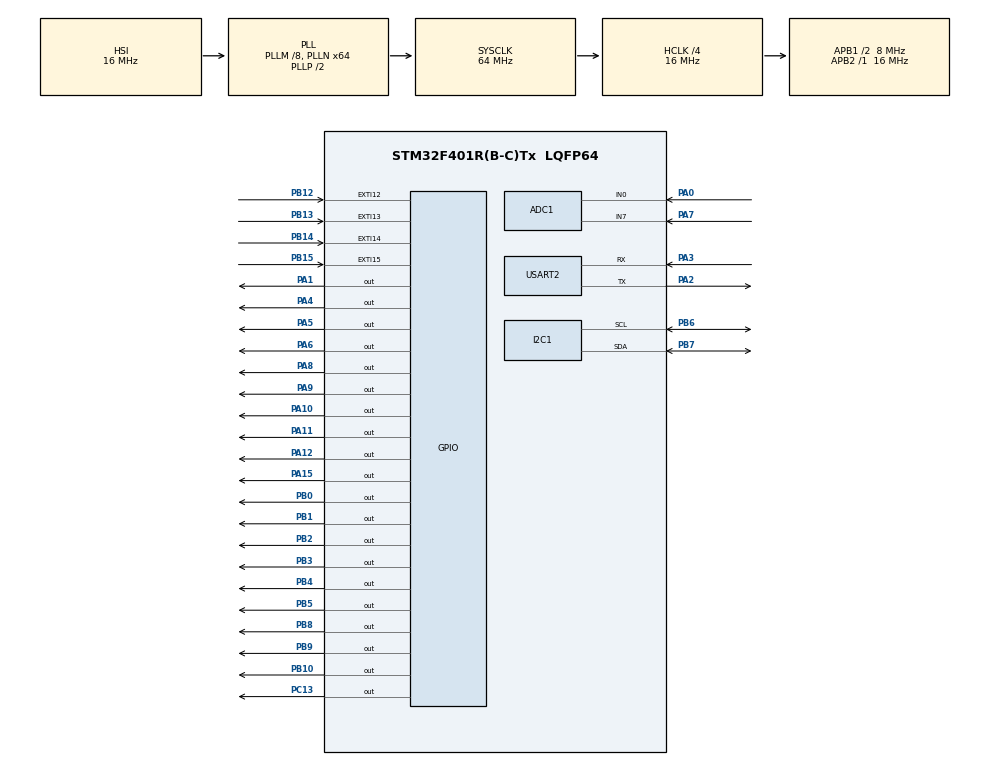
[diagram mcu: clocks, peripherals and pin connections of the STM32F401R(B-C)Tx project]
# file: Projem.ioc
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ADC1.ClockPrescaler=ADC_CLOCK_SYNC_PCLK_DIV2
ADC1.ContinuousConvMode=ENABLE
ADC1.NbrOfConversionFlag=1
ADC1.SamplingTime-0\#ChannelRegularConversion=ADC_SAMPLETIME_56CYCLES
ADC1.master=1
Mcu.Family=STM32F4
Mcu.Name=STM32F401R(B-C)Tx
Mcu.Package=LQFP64
NVIC.ADC_IRQn=true\:0\:0\:false\:false\:true\:true\:true\:true
NVIC.EXTI15_10_IRQn=true\:0\:0\:false\:false\:true\:true\:true\:true
NVIC.PriorityGroup=NVIC_PRIORITYGROUP_4
NVIC.TIM2_IRQn=true\:15\:0\:false\:false\:true\:true\:true\:true
PA0-WKUP.Signal=ADCx_IN0
PA1.Signal=GPIO_Output
PA10.Signal=GPIO_Output
PA11.Signal=GPIO_Output
PA12.Signal=GPIO_Output
PA13.Mode=Serial_Wire
PA13.Signal=SYS_JTMS-SWDIO
PA14.Mode=Serial_Wire
PA14.Signal=SYS_JTCK-SWCLK
PA15.GPIO_PuPd=GPIO_NOPULL
PA15.Signal=GPIO_Output
PA2.Mode=Asynchronous
PA2.Signal=USART2_TX
PA3.Mode=Asynchronous
PA3.Signal=USART2_RX
PA4.GPIO_PuPd=GPIO_NOPULL
PA4.Signal=GPIO_Output
PA5.GPIO_PuPd=GPIO_NOPULL
PA5.Signal=GPIO_Output
PA6.GPIO_PuPd=GPIO_NOPULL
PA6.Signal=GPIO_Output
PA7.Signal=ADCx_IN7
PA8.Signal=GPIO_Output
PA9.Signal=GPIO_Output
PB0.Signal=GPIO_Output
PB1.Signal=GPIO_Output
PB10.Signal=GPIO_Output
PB12.GPIO_ModeDefaultEXTI=GPIO_MODE_IT_FALLING
PB12.GPIO_PuPd=GPIO_PULLUP
PB12.Signal=GPXTI12
PB13.GPIO_ModeDefaultEXTI=GPIO_MODE_IT_FALLING
PB13.GPIO_PuPd=GPIO_PULLUP
PB13.Signal=GPXTI13
PB14.GPIO_ModeDefaultEXTI=GPIO_MODE_IT_FALLING
PB14.GPIO_PuPd=GPIO_PULLUP
PB14.Signal=GPXTI14
PB15.GPIO_ModeDefaultEXTI=GPIO_MODE_IT_FALLING
PB15.GPIO_PuPd=GPIO_PULLUP
PB15.Signal=GPXTI15
PB2.Signal=GPIO_Output
PB3.Signal=GPIO_Output
PB4.Signal=GPIO_Output
PB5.Signal=GPIO_Output
PB6.GPIO_Pu=GPIO_PULLUP
PB6.Mode=I2C
PB6.Signal=I2C1_SCL
PB7.GPIO_Mode=GPIO_MODE_AF_OD
PB7.GPIO_Pu=GPIO_PULLUP
PB7.Mode=I2C
PB7.Signal=I2C1_SDA
PB8.Signal=GPIO_Output
PB9.Signal=GPIO_Output
PC13-ANTI_TAMP.GPIO_PuPd=GPIO_PULLUP
PC13-ANTI_TAMP.Signal=GPIO_Output
PC14-OSC32_IN.Mode=LSE-External-Oscillator
PC14-OSC32_IN.Signal=RCC_OSC32_IN
PC15-OSC32_OUT.Mode=LSE-External-Oscillator
PC15-OSC32_OUT.Signal=RCC_OSC32_OUT
PH0\ -\ OSC_IN.Mode=HSE-External-Oscillator
PH0\ -\ OSC_IN.Signal=RCC_OSC_IN
PH1\ -\ OSC_OUT.Mode=HSE-External-Oscillator
PH1\ -\ OSC_OUT.Signal=RCC_OSC_OUT
ProjectManager.HeapSize=0x200
ProjectManager.StackSize=0x400
ProjectManager.TargetToolchain=STM32CubeIDE
RCC.48MHZClocksFreq_Value=32000000
RCC.AHBCLKDivider=RCC_SYSCLK_DIV4
RCC.AHBFreq_Value=16000000
RCC.APB1CLKDivider=RCC_HCLK_DIV2
RCC.APB1Freq_Value=8000000
RCC.APB1TimFreq_Value=16000000
RCC.APB2Freq_Value=16000000
RCC.APB2TimFreq_Value=16000000
RCC.CortexFreq_Value=16000000
RCC.HCLKFreq_Value=16000000
RCC.HSE_VALUE=25000000
RCC.HSI_VALUE=16000000
RCC.PLLM=8
RCC.PLLN=64
RCC.SYSCLKFreq_VALUE=64000000
RCC.SYSCLKSource=RCC_SYSCLKSOURCE_PLLCLK
RCC.VCOOutputFreq_Value=128000000
SH.ADCx_IN0.0=ADC1_IN0,IN0
SH.ADCx_IN7.0=ADC1_IN7,IN7
TIM2.Period=999
TIM2.Prescaler=15
USART2.VirtualMode=VM_ASYNC
VP_RTC_VS_RTC_Activate.Mode=RTC_Enabled
VP_TIM2_VS_ClockSourceINT.Mode=Internal
board=custom

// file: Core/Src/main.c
/* USER CODE BEGIN Header */
/**
  ******************************************************************************
  * @file           : main.c
  * @brief          : Main program body
  ******************************************************************************
  */
/* USER CODE END Header */

#include "main.h"
#include "lcd.h"
#include "ds1307.h"
#include <stdio.h>
#include <string.h>
#include <math.h>

ADC_HandleTypeDef hadc1;
I2C_HandleTypeDef hi2c1;
RTC_HandleTypeDef hrtc;
TIM_HandleTypeDef htim2;
UART_HandleTypeDef huart2;

/* USER CODE BEGIN PV */
uint8_t sn=0, dak=25, saat=10, gun=15, haftagun=4, ay=5, yil=26;

/* 7 SEGMENT ORTAK ANOT TABLOSU */
const unsigned char segtable[]={0xC0,0xF9,0xA4,0xB0,0x99,
		                        0x92,0x82,0xF8,0x80,0x90,0x9C,0xC6};

uint16_t s4=0, s3=0, s2=0, s1=0;
uint16_t tiksay=0, tiksay1=0, tiksay2=0;

/* NAVİGASYON VE DURUM BAYRAKLARI */
volatile int menu_index = 0;
volatile uint8_t enter_pressed = 0;
volatile uint8_t back_pressed = 0;
uint8_t current_app = 0;

uint32_t seg_timer = 0;
uint8_t display_mode = 0;
uint32_t app_timer = 0;
uint8_t buzzer_state = 0;
uint8_t led_toggle_state = 0;

float temperature = 25.0f;
float pot_voltage = 0.0f;

const char *menu_items[5] = {
    "1.Buzzer Uyg.",
    "2.LED Uyg.",
    "3.RTC Tarih",
    "4.POT Voltaj",
    "5.UART Haber"
};
/* USER CODE END PV */

void SystemClock_Config(void);
void MX_GPIO_Init(void);
void MX_ADC1_Init(void);
void MX_I2C1_Init(void);
void MX_TIM2_Init(void);
void MX_RTC_Init(void);
void MX_USART2_UART_Init(void);

void Update_Menu_Display(void);
void Execute_Applications(void);
void Read_Sensors(void);

void delay_us(uint16_t delay) {
    volatile uint16_t i;
    while(delay--) { for(i = 0; i < 10; i++); }
}

void Error_Handler(void)
{
  __disable_irq();
  while (1) {}
}

/* KİLİTLENMEYİ ÖNLEYEN VE PARAZİT ENGELLEYİCİ AKILLI BUTON MOTORU */
void HAL_GPIO_EXTI_Callback(uint16_t GPIO_Pin)
{
    static uint32_t last_exti_tick = 0;
    if(HAL_GetTick() - last_exti_tick < 250) return;
    last_exti_tick = HAL_GetTick();

    if(GPIO_Pin == GPIO_PIN_12){
        if(HAL_GPIO_ReadPin(GPIOB, GPIO_PIN_12) == GPIO_PIN_RESET) {
            if(current_app == 0) {
                menu_index = (menu_index - 1 + 5) % 5;
                Update_Menu_Display();
            }
        }
    }
    if(GPIO_Pin == GPIO_PIN_13){
        if(HAL_GPIO_ReadPin(GPIOB, GPIO_PIN_13) == GPIO_PIN_RESET) {
            if(current_app == 0) {
                menu_index = (menu_index + 1) % 5;
                Update_Menu_Display();
            }
        }
    }
    if(GPIO_Pin == GPIO_PIN_14){
        if(HAL_GPIO_ReadPin(GPIOB, GPIO_PIN_14) == GPIO_PIN_RESET) {
            if(current_app == 0) enter_pressed = 1;
        }
    }
    if(GPIO_Pin == GPIO_PIN_15){
        if(HAL_GPIO_ReadPin(GPIOB, GPIO_PIN_15) == GPIO_PIN_RESET) {
            if(current_app != 0) back_pressed = 1;
        }
    }
}

void Update_Menu_Display(void)
{
    clearLcd();
    uint8_t start = (menu_index / 2) * 2;

    char line1[21];
    char line2[21];

    sprintf(line1, "%c%s", (menu_index == start) ? '*' : ' ', menu_items[start]);
    writeStr(0, 0, line1);

    if(start + 1 < 5)
    {
        sprintf(line2, "%c%s", (menu_index == start + 1) ? '*' : ' ', menu_items[start + 1]);
        writeStr(1, 0, line2);
    }
}

void Execute_Applications(void)
{
    if(back_pressed == 1) {
        back_pressed = 0;
        enter_pressed = 0;
        current_app = 0;
        HAL_GPIO_WritePin(GPIOC, GPIO_PIN_13, GPIO_PIN_RESET);
        clearLcd();
        HAL_Delay(100);
        Update_Menu_Display();
        return;
    }

    if(enter_pressed) {
        current_app = menu_index + 1;
        enter_pressed = 0;
        clearLcd();
        app_timer = HAL_GetTick();
        buzzer_state = 0;
        led_toggle_state = 0;
    }

    if(current_app == 0) return;

    switch(current_app) {
        case 1: /* BUZZER UYGULAMASI */
            writeStr(0, 0, "Buzzer Uygulama ");
            if(buzzer_state == 0) {
                writeStr(1, 0, "Durum: AKTIF (3s)");
                HAL_GPIO_WritePin(GPIOC, GPIO_PIN_13, GPIO_PIN_SET);
                if(HAL_GetTick() - app_timer >= 3000) {
                    buzzer_state = 1;
                    app_timer = HAL_GetTick();
                }
            } else {
                writeStr(1, 0, "Durum: PASIF (1s)");
                HAL_GPIO_WritePin(GPIOC, GPIO_PIN_13, GPIO_PIN_RESET);
                if(HAL_GetTick() - app_timer >= 1000) {
                    buzzer_state = 0;
                    app_timer = HAL_GetTick();
                }
            }
            break;

        case 2: /* LED FLASHER MODU */
            writeStr(0, 0, "LED Uygulamasi  ");
            if(HAL_GetTick() - app_timer >= 500) {
                app_timer = HAL_GetTick();
                led_toggle_state = !led_toggle_state;
            }
            if(led_toggle_state) {
                writeStr(1, 0, "LED: OO XX      ");
            } else {
                writeStr(1, 0, "LED: XX OO      ");
            }
            break;

        case 3: /* RTC MODU */
            {
                char rtc_buf[21];
                sprintf(rtc_buf, "Tar: %02d/%02d/20%02d", gun, ay, yil);
                writeStr(0, 0, "RTC Tarih Bilgisi");
                writeStr(1, 0, rtc_buf);
            }
            break;

        case 4: /* POT VOLTAJ MODU */
            writeStr(0, 0, "POT Voltaj Degeri");
            displayFloat(1, 0, pot_voltage);
            break;

        case 5: /* UART PYTHON MODU */
            writeStr(0, 0, "UART Tx Calisiyor");
            writeStr(1, 0, "Python'a Yollandi");
            if(HAL_GetTick() - app_timer >= 1000) {
                app_timer = HAL_GetTick();
                GetDateTime_ds1307();
                char tx_msg[120];
                sprintf(tx_msg, "%.1f,%02d:%02d:%02d,%02d/%02d/20%02d\r\n",
                        temperature, saat, dak, sn, gun, ay, yil);
                HAL_UART_Transmit(&huart2, (uint8_t*)tx_msg, strlen(tx_msg), 100);
            }
            break;
    }
}

void Read_Sensors(void)
{
    ADC_ChannelConfTypeDef sConfig = {0};
    sConfig.Rank = 1;
    sConfig.SamplingTime = ADC_SAMPLETIME_84CYCLES;

    sConfig.Channel = ADC_CHANNEL_0;
    HAL_ADC_ConfigChannel(&hadc1, &sConfig);
    HAL_ADC_Start(&hadc1);
    if(HAL_ADC_PollForConversion(&hadc1, 10) == HAL_OK) {
        pot_voltage = (HAL_ADC_GetValue(&hadc1) * 3.3f) / 4095.0f;
    }
    HAL_ADC_Stop(&hadc1);

    sConfig.Channel = ADC_CHANNEL_7;
    HAL_ADC_ConfigChannel(&hadc1, &sConfig);
    HAL_ADC_Start(&hadc1);
    if(HAL_ADC_PollForConversion(&hadc1, 10) == HAL_OK) {
        uint32_t raw_ntc = HAL_ADC_GetValue(&hadc1);
        float v_ntc = (raw_ntc * 3.3f) / 4095.0f;
        temperature = 25.0f + ((1.65f - v_ntc) * 35.0f);
    }
    HAL_ADC_Stop(&hadc1);
}

int main(void)
{
  HAL_Init();
  SystemClock_Config();

  MX_GPIO_Init();
  MX_ADC1_Init();
  MX_I2C1_Init();
  MX_TIM2_Init();
  MX_RTC_Init();
  MX_USART2_UART_Init();

  lcdInit();
  writeStr(0, 0, "    Sistem      ");
  writeStr(1, 0, "    Basliyor    ");
  HAL_Delay(1000);
  clearLcd();

  SetDateTime_ds1307();
  Update_Menu_Display();

  HAL_TIM_Base_Start_IT(&htim2);

  /* Infinite loop */
  /* USER CODE BEGIN WHILE */
  while (1)
  {
        Read_Sensors();

        if (current_app != 5) {
            GetDateTime_ds1307();
        }

        // PB12: YUKARI BUTONU
        if (HAL_GPIO_ReadPin(GPIOB, GPIO_PIN_12) == GPIO_PIN_RESET) {
            HAL_Delay(30);
            if (HAL_GPIO_ReadPin(GPIOB, GPIO_PIN_12) == GPIO_PIN_RESET) {
                if (current_app == 0) {
                    menu_index = (menu_index - 1 + 5) % 5;
                    Update_Menu_Display();
                }
                while(HAL_GPIO_ReadPin(GPIOB, GPIO_PIN_12) == GPIO_PIN_RESET);
            }
        }

        // PB13: AŞAĞI BUTONU
        if (HAL_GPIO_ReadPin(GPIOB, GPIO_PIN_13) == GPIO_PIN_RESET) {
            HAL_Delay(30);
            if (HAL_GPIO_ReadPin(GPIOB, GPIO_PIN_13) == GPIO_PIN_RESET) {
                if (current_app == 0) {
                    menu_index = (menu_index + 1) % 5;
                    Update_Menu_Display();
                }
                while(HAL_GPIO_ReadPin(GPIOB, GPIO_PIN_13) == GPIO_PIN_RESET);
            }
        }

        // PB14: ENTER BUTONU
        if (HAL_GPIO_ReadPin(GPIOB, GPIO_PIN_14) == GPIO_PIN_RESET) {
            HAL_Delay(30);
            if (HAL_GPIO_ReadPin(GPIOB, GPIO_PIN_14) == GPIO_PIN_RESET) {
                if (current_app == 0) {
                    enter_pressed = 1;
                }
                while(HAL_GPIO_ReadPin(GPIOB, GPIO_PIN_14) == GPIO_PIN_RESET);
            }
        }

        // PB15: BACK BUTONU
        if (HAL_GPIO_ReadPin(GPIOB, GPIO_PIN_15) == GPIO_PIN_RESET) {
            HAL_Delay(30);
            if (HAL_GPIO_ReadPin(GPIOB, GPIO_PIN_15) == GPIO_PIN_RESET) {
                if (current_app != 0) {
                    back_pressed = 1;
                }
                while(HAL_GPIO_ReadPin(GPIOB, GPIO_PIN_15) == GPIO_PIN_RESET);
            }
        }

        Execute_Applications();

        /* SEVEN SEGMENT DISPLAY SÜRÜCÜ MANTIĞI */
        if (display_mode == 0) {
            int t_val = (int)temperature;
            if(t_val < 0)  t_val = 0;
            if(t_val > 99) t_val = 99;

            s4 = t_val / 10;
            s3 = t_val % 10;
            s2 = 10;
            s1 = 11;
        }
        else {
            s4 = saat / 10;
            s3 = saat % 10;
            s2 = dak / 10;
            s1 = dak % 10;
        }

        if (tiksay >= 50) {
            tiksay = 0;
            if (current_app == 0) {
                Update_Menu_Display();
            }
        }

        HAL_Delay(5);
  }
  /* USER CODE END 3 */
}

void SystemClock_Config(void)
{
  RCC_OscInitTypeDef RCC_OscInitStruct = {0};
  RCC_ClkInitTypeDef RCC_ClkInitStruct = {0};

  __HAL_RCC_PWR_CLK_ENABLE();
  __HAL_PWR_VOLTAGESCALING_CONFIG(PWR_REGULATOR_VOLTAGE_SCALE2);

  RCC_OscInitStruct.OscillatorType = RCC_OSCILLATORTYPE_HSI|RCC_OSCILLATORTYPE_LSI;
  RCC_OscInitStruct.HSIState = RCC_HSI_ON;
  RCC_OscInitStruct.HSICalibrationValue = RCC_HSICALIBRATION_DEFAULT;
  RCC_OscInitStruct.LSIState = RCC_LSI_ON;
  RCC_OscInitStruct.PLL.PLLState = RCC_PLL_ON;
  RCC_OscInitStruct.PLL.PLLSource = RCC_PLLSOURCE_HSI;
  RCC_OscInitStruct.PLL.PLLM = 8;
  RCC_OscInitStruct.PLL.PLLN = 64;
  RCC_OscInitStruct.PLL.PLLP = RCC_PLLP_DIV2;
  RCC_OscInitStruct.PLL.PLLQ = 4;
  HAL_RCC_OscConfig(&RCC_OscInitStruct);

  RCC_ClkInitStruct.ClockType = RCC_CLOCKTYPE_HCLK|RCC_CLOCKTYPE_SYSCLK
                              |RCC_CLOCKTYPE_PCLK1|RCC_CLOCKTYPE_PCLK2;
  RCC_ClkInitStruct.SYSCLKSource = RCC_SYSCLKSOURCE_PLLCLK;
  RCC_ClkInitStruct.AHBCLKDivider = RCC_SYSCLK_DIV4;
  RCC_ClkInitStruct.APB1CLKDivider = RCC_HCLK_DIV2;
  RCC_ClkInitStruct.APB2CLKDivider = RCC_HCLK_DIV1;
  HAL_RCC_ClockConfig(&RCC_ClkInitStruct, FLASH_LATENCY_0);
}

void MX_ADC1_Init(void)
{
  hadc1.Instance = ADC1;
  hadc1.Init.ClockPrescaler = ADC_CLOCK_SYNC_PCLK_DIV2;
  hadc1.Init.Resolution = ADC_RESOLUTION_12B;
  hadc1.Init.ScanConvMode = DISABLE;
  hadc1.Init.ContinuousConvMode = DISABLE;
  hadc1.Init.DiscontinuousConvMode = DISABLE;
  hadc1.Init.ExternalTrigConvEdge = ADC_EXTERNALTRIGCONVEDGE_NONE;
  hadc1.Init.ExternalTrigConv = ADC_SOFTWARE_START;
  hadc1.Init.DataAlign = ADC_DATAALIGN_RIGHT;
  hadc1.Init.NbrOfConversion = 1;
  hadc1.Init.DMAContinuousRequests = DISABLE;
  hadc1.Init.EOCSelection = ADC_EOC_SINGLE_CONV;
  HAL_ADC_Init(&hadc1);
}

void MX_I2C1_Init(void)
{
  hi2c1.Instance = I2C1;
  hi2c1.Init.ClockSpeed = 100000;
  hi2c1.Init.DutyCycle = I2C_DUTYCYCLE_2;
  hi2c1.Init.OwnAddress1 = 0;
  hi2c1.Init.AddressingMode = I2C_ADDRESSINGMODE_7BIT;
  hi2c1.Init.DualAddressMode = I2C_DUALADDRESS_DISABLE;
  hi2c1.Init.OwnAddress2 = 0;
  hi2c1.Init.GeneralCallMode = I2C_GENERALCALL_DISABLE;
  hi2c1.Init.NoStretchMode = I2C_NOSTRETCH_DISABLE;
  HAL_I2C_Init(&hi2c1);
}

void MX_RTC_Init(void)
{
  hrtc.Instance = RTC;
  hrtc.Init.HourFormat = RTC_HOURFORMAT_24;
  hrtc.Init.AsynchPrediv = 127;
  hrtc.Init.SynchPrediv = 255;
  hrtc.Init.OutPut = RTC_OUTPUT_DISABLE;
  hrtc.Init.OutPutPolarity = RTC_OUTPUT_POLARITY_HIGH;
  hrtc.Init.OutPutType = RTC_OUTPUT_TYPE_OPENDRAIN;
  HAL_RTC_Init(&hrtc);
}

void MX_TIM2_Init(void)
{
  TIM_ClockConfigTypeDef sClockSourceConfig = {0};
  TIM_MasterConfigTypeDef sMasterConfig = {0};

  htim2.Instance = TIM2;
  htim2.Init.Prescaler = 15;
  htim2.Init.CounterMode = TIM_COUNTERMODE_UP;
  htim2.Init.Period = 1000;
  htim2.Init.ClockDivision = TIM_CLOCKDIVISION_DIV1;
  htim2.Init.AutoReloadPreload = TIM_AUTORELOAD_PRELOAD_ENABLE;
  HAL_TIM_Base_Init(&htim2);
  sClockSourceConfig.ClockSource = TIM_CLOCKSOURCE_INTERNAL;
  HAL_TIM_ConfigClockSource(&htim2, &sClockSourceConfig);
  sMasterConfig.MasterOutputTrigger = TIM_TRGO_RESET;
  sMasterConfig.MasterSlaveMode = TIM_MASTERSLAVEMODE_DISABLE;
  HAL_TIMEx_MasterConfigSynchronization(&htim2, &sMasterConfig);
}

void MX_USART2_UART_Init(void)
{
  huart2.Instance = USART2;
  huart2.Init.BaudRate = 115200;
  huart2.Init.WordLength = UART_WORDLENGTH_8B;
  huart2.Init.StopBits = UART_STOPBITS_1;
  huart2.Init.Parity = UART_PARITY_NONE;
  huart2.Init.Mode = UART_MODE_TX_RX;
  huart2.Init.HwFlowCtl = UART_HWCONTROL_NONE;
  huart2.Init.OverSampling = UART_OVERSAMPLING_16;
  HAL_UART_Init(&huart2);
}

void MX_GPIO_Init(void)
{
  GPIO_InitTypeDef GPIO_InitStruct = {0};

  __HAL_RCC_GPIOH_CLK_ENABLE();
  __HAL_RCC_GPIOA_CLK_ENABLE();
  __HAL_RCC_GPIOB_CLK_ENABLE();
  __HAL_RCC_GPIOC_CLK_ENABLE();

  HAL_GPIO_WritePin(GPIOC, GPIO_PIN_13, GPIO_PIN_RESET);
  HAL_GPIO_WritePin(GPIOA, GPIO_PIN_1|GPIO_PIN_4|GPIO_PIN_5|GPIO_PIN_6
                          |GPIO_PIN_8|GPIO_PIN_9|GPIO_PIN_10|GPIO_PIN_11
                          |GPIO_PIN_12|GPIO_PIN_15, GPIO_PIN_RESET);
  HAL_GPIO_WritePin(GPIOB, GPIO_PIN_0|GPIO_PIN_1|GPIO_PIN_2|GPIO_PIN_10
                          |GPIO_PIN_3|GPIO_PIN_4|GPIO_PIN_5|GPIO_PIN_8
                          |GPIO_PIN_9, GPIO_PIN_RESET);

  /* PC13 (Buzzer Çıkışı) */
  GPIO_InitStruct.Pin = GPIO_PIN_13;
  GPIO_InitStruct.Mode = GPIO_MODE_OUTPUT_PP;
  GPIO_InitStruct.Pull = GPIO_NOPULL;
  GPIO_InitStruct.Speed = GPIO_SPEED_FREQ_LOW;
  HAL_GPIO_Init(GPIOC, &GPIO_InitStruct);

  /* GPIOA Çıkış Portları (Segmentler ve LCD Kontrol) */
  GPIO_InitStruct.Pin = GPIO_PIN_1|GPIO_PIN_8|GPIO_PIN_9|GPIO_PIN_10|GPIO_PIN_11|GPIO_PIN_12;
  GPIO_InitStruct.Mode = GPIO_MODE_OUTPUT_PP;
  GPIO_InitStruct.Pull = GPIO_NOPULL;
  GPIO_InitStruct.Speed = GPIO_SPEED_FREQ_LOW;
  HAL_GPIO_Init(GPIOA, &GPIO_InitStruct);

  /* GPIOA Özel Segment Maske Çıkışları */
  GPIO_InitStruct.Pin = GPIO_PIN_4|GPIO_PIN_5|GPIO_PIN_6|GPIO_PIN_15;
  HAL_GPIO_Init(GPIOA, &GPIO_InitStruct);

  /* GPIOB Çıkışları (Hane Seçiciler ve LCD Data) */
  GPIO_InitStruct.Pin = GPIO_PIN_0|GPIO_PIN_1|GPIO_PIN_2|GPIO_PIN_10|GPIO_PIN_3|GPIO_PIN_4|GPIO_PIN_5|GPIO_PIN_8|GPIO_PIN_9;
  HAL_GPIO_Init(GPIOB, &GPIO_InitStruct);

  /* PB12-PB15 Kesme Buton Girişleri (FALLING ve PULLUP) */
  GPIO_InitStruct.Pin = GPIO_PIN_12|GPIO_PIN_13|GPIO_PIN_14|GPIO_PIN_15;
  GPIO_InitStruct.Mode = GPIO_MODE_IT_FALLING;
  GPIO_InitStruct.Pull = GPIO_PULLUP;
  HAL_GPIO_Init(GPIOB, &GPIO_InitStruct);
}
